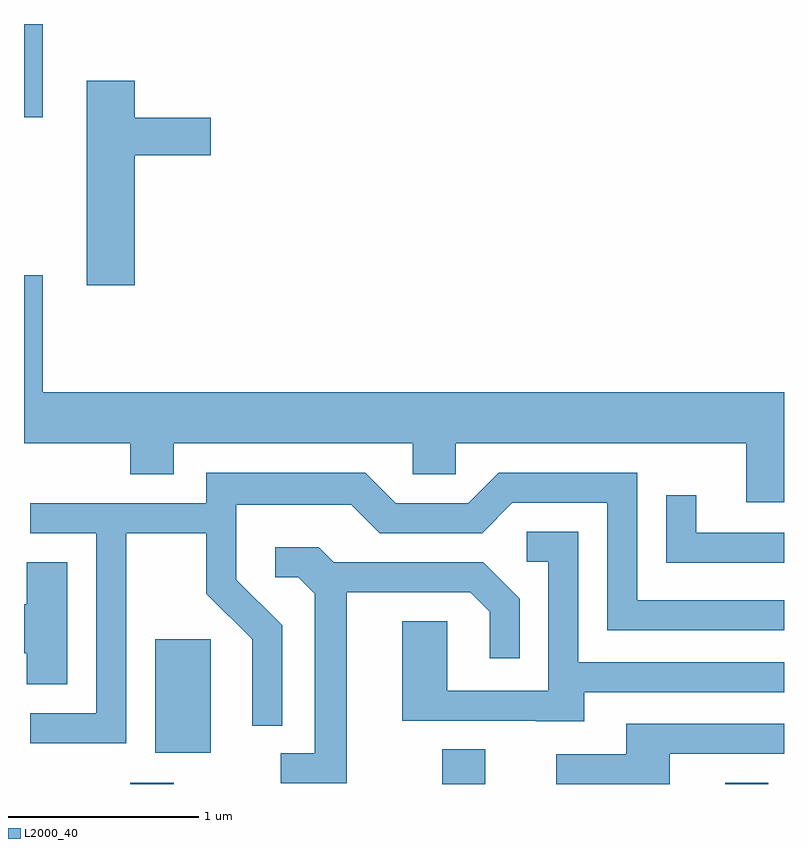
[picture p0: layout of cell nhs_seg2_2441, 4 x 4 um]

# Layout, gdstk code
import gdstk
lib = gdstk.Library(unit=1e-6, precision=1e-09)
def R(c, l, rs):  # rectangles x0, y0, x1, y1
    for r in rs: c.add(gdstk.rectangle(r[:2], r[2:], *l))
def P(c, l, *ps):  # polygons
    for p in ps: c.add(gdstk.Polygon(p, *l))
L2000_40 = (2000, 40)

nhs_seg2_2441 = lib.new_cell('nhs_seg2_2441')
R(nhs_seg2_2441, L2000_40, [(256.171,1099.802,256.399,1099.809), (257.811,1099.802,258.039,1099.984), (259.301,1099.802,259.529,1099.809), (256.301,1099.966,256.594,1100.564), (255.611,1103.311,255.709,1103.802)])
P(nhs_seg2_2441, L2000_40, [(256.194,1103.111),(256.594,1103.111),(256.594,1103.309),(256.194,1103.309),(256.194,1103.504),(255.941,1103.504),(255.941,1102.426),(256.194,1102.426)],
  [(259.611,1101.864),(255.709,1101.864),(255.709,1102.479),(255.611,1102.479),(255.611,1101.596),(256.171,1101.596),(256.171,1101.431),(256.399,1101.431),(256.399,1101.596),(257.656,1101.596),(257.656,1101.431),(257.884,1101.431),(257.884,1101.596),(259.411,1101.596),(259.411,1101.286),(259.611,1101.286)],
  [(256.149,1101.121),(256.571,1101.121),(256.571,1100.804),(256.811,1100.564),(256.811,1100.108),(256.969,1100.108),(256.969,1100.637),(256.729,1100.877),(256.729,1101.271),(257.334,1101.271),(257.484,1101.121),(258.022,1101.121),(258.182,1101.281),(258.681,1101.281),(258.681,1100.611),(259.611,1100.611),(259.611,1100.769),(258.839,1100.769),(258.839,1101.439),(258.109,1101.439),(257.949,1101.279),(257.567,1101.279),(257.407,1101.439),(256.571,1101.439),(256.571,1101.279),(255.643,1101.279),(255.643,1101.121),(255.991,1101.121),(255.991,1100.174),(255.643,1100.174),(255.643,1100.016),(256.149,1100.016)],
  [(259.611,1101.124),(259.149,1101.124),(259.149,1101.323),(258.991,1101.323),(258.991,1100.966),(259.611,1100.966)],
  [(258.559,1100.286),(259.611,1100.286),(259.611,1100.444),(258.529,1100.444),(258.529,1101.129),(258.258,1101.129),(258.258,1100.971),(258.371,1100.971),(258.371,1100.294),(257.839,1100.294),(257.839,1100.659),(257.601,1100.659),(257.601,1100.136),(258.305,1100.136),(258.305,1100.131),(258.559,1100.131)],
  [(257.309,1100.811),(257.959,1100.811),(258.061,1100.709),(258.061,1100.463),(258.219,1100.463),(258.219,1100.777),(258.027,1100.969),(257.242,1100.969),(257.162,1101.049),(256.933,1101.049),(256.933,1100.891),(257.054,1100.891),(257.141,1100.804),(257.141,1099.964),(256.962,1099.964),(256.962,1099.806),(257.309,1099.806)],
  [(255.839,1100.969),(255.626,1100.969),(255.626,1100.749),(255.611,1100.749),(255.611,1100.491),(255.626,1100.491),(255.626,1100.326),(255.839,1100.326)],
  [(259.009,1099.961),(259.611,1099.961),(259.611,1100.119),(258.781,1100.119),(258.781,1099.959),(258.413,1099.959),(258.413,1099.802),(259.009,1099.802)])

lib.write_gds('nhs_seg2_2441.gds')
